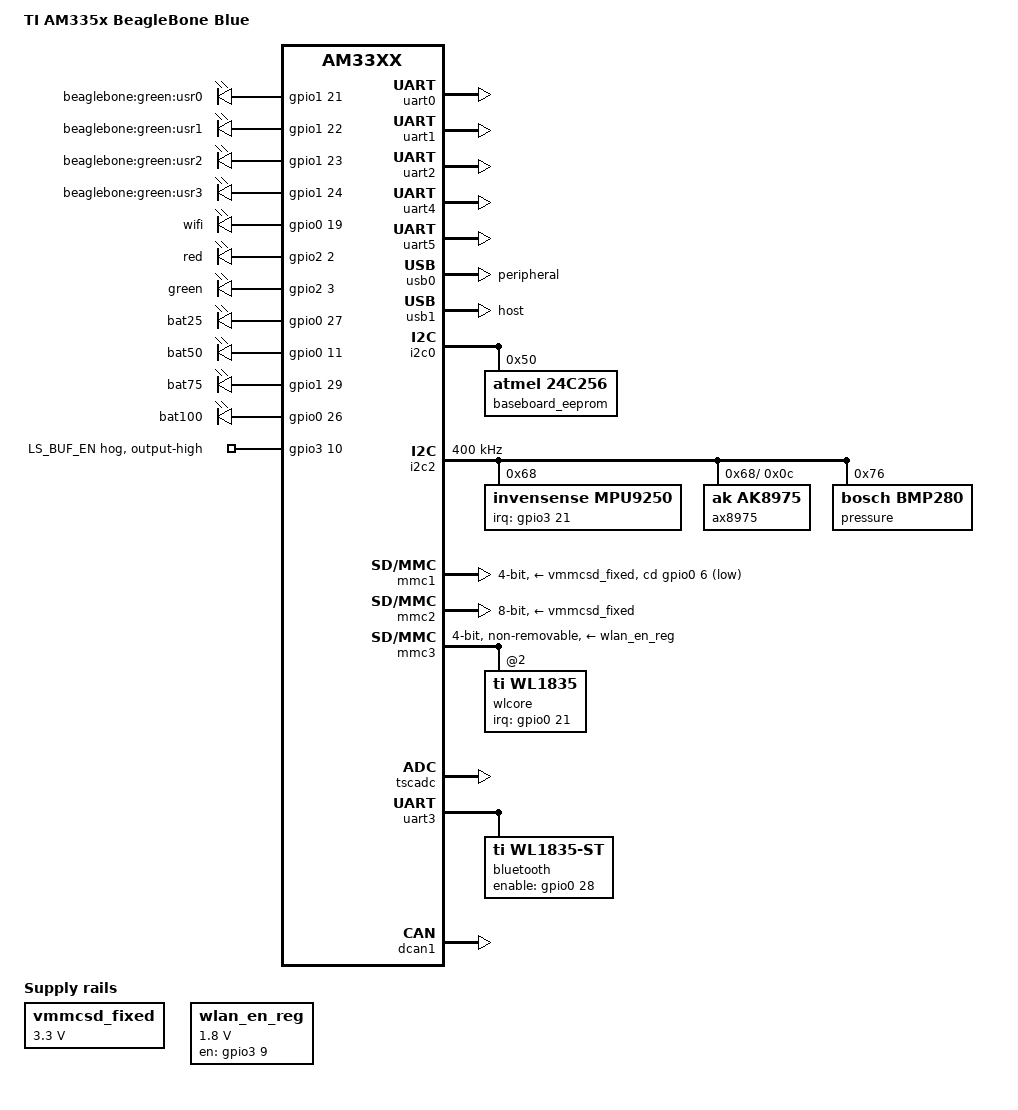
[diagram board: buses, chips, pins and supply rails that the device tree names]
// SPDX-License-Identifier: GPL-2.0-only
/*
 * Copyright (C) 2012 Texas Instruments Incorporated - https://www.ti.com/
 */
/dts-v1/;

#include "am33xx.dtsi"
#include "am335x-osd335x-common.dtsi"
#include <dt-bindings/interrupt-controller/irq.h>

/ {
	model = "TI AM335x BeagleBone Blue";
	compatible = "ti,am335x-bone-blue", "ti,am33xx";

	chosen {
		stdout-path = &uart0;
	};

	leds {
		pinctrl-names = "default";
		pinctrl-0 = <&user_leds_s0>;

		compatible = "gpio-leds";

		usr_0_led {
			label = "beaglebone:green:usr0";
			gpios = <&gpio1 21 GPIO_ACTIVE_HIGH>;
			linux,default-trigger = "heartbeat";
			default-state = "off";
		};

		usr_1_led {
			label = "beaglebone:green:usr1";
			gpios = <&gpio1 22 GPIO_ACTIVE_HIGH>;
			linux,default-trigger = "mmc0";
			default-state = "off";
		};

		usr_2_led {
			label = "beaglebone:green:usr2";
			gpios = <&gpio1 23 GPIO_ACTIVE_HIGH>;
			linux,default-trigger = "cpu0";
			default-state = "off";
		};

		usr_3_led {
			label = "beaglebone:green:usr3";
			gpios = <&gpio1 24 GPIO_ACTIVE_HIGH>;
			linux,default-trigger = "mmc1";
			default-state = "off";
		};

		wifi_led {
			label = "wifi";
			gpios = <&gpio0 19 GPIO_ACTIVE_HIGH>;
			default-state = "off";
			linux,default-trigger = "phy0assoc";
		};

		red_led {
			label = "red";
			gpios = <&gpio2 2 GPIO_ACTIVE_HIGH>;
			default-state = "off";
		};

		green_led {
			label = "green";
			gpios = <&gpio2 3 GPIO_ACTIVE_HIGH>;
			default-state = "off";
		};

		batt_1_led {
			label = "bat25";
			gpios = <&gpio0 27 GPIO_ACTIVE_HIGH>;
			default-state = "off";
		};

		batt_2_led {
			label = "bat50";
			gpios = <&gpio0 11 GPIO_ACTIVE_HIGH>;
			default-state = "off";
		};

		batt_3_led {
			label = "bat75";
			gpios = <&gpio1 29 GPIO_ACTIVE_HIGH>;
			default-state = "off";
		};

		batt_4_led {
			label = "bat100";
			gpios = <&gpio0 26 GPIO_ACTIVE_HIGH>;
			default-state = "off";
		};
	};

	vmmcsd_fixed: fixedregulator0 {
		compatible = "regulator-fixed";
		regulator-name = "vmmcsd_fixed";
		regulator-min-microvolt = <3300000>;
		regulator-max-microvolt = <3300000>;
	};

	wlan_en_reg: fixedregulator@2 {
		compatible = "regulator-fixed";
		regulator-name = "wlan-en-regulator";
		regulator-min-microvolt = <1800000>;
		regulator-max-microvolt = <1800000>;
		startup-delay-us= <70000>;

		/* WL_EN */
		gpio = <&gpio3 9 0>;
		enable-active-high;
	};
};

&am33xx_pinmux {
	user_leds_s0: user_leds_s0 {
		pinctrl-single,pins = <
			AM33XX_PADCONF(AM335X_PIN_GPMC_A5, PIN_OUTPUT, MUX_MODE7) /* (V15) gpmc_a5.gpio1[21] - USR_LED_0 */
			AM33XX_PADCONF(AM335X_PIN_GPMC_A6, PIN_OUTPUT, MUX_MODE7) /* (U15) gpmc_a6.gpio1[22] - USR_LED_1 */
			AM33XX_PADCONF(AM335X_PIN_GPMC_A7, PIN_OUTPUT, MUX_MODE7) /* (T15) gpmc_a7.gpio1[23] - USR_LED_2 */
			AM33XX_PADCONF(AM335X_PIN_GPMC_A8, PIN_OUTPUT, MUX_MODE7) /* (V16) gpmc_a8.gpio1[24] - USR_LED_3 */
			AM33XX_PADCONF(AM335X_PIN_XDMA_EVENT_INTR0, PIN_OUTPUT, MUX_MODE7) /* (A15) xdma_event_intr0.gpio0[19] - WIFI_LED */
			AM33XX_PADCONF(AM335X_PIN_GPMC_ADVN_ALE, PIN_OUTPUT, MUX_MODE7) /* (R7) gpmc_advn_ale.gpio2[2] - P8.7, LED_RED, GP1_PIN_5 */
			AM33XX_PADCONF(AM335X_PIN_GPMC_OEN_REN, PIN_OUTPUT, MUX_MODE7) /* (T7) gpmc_oen_ren.gpio2[3] - P8.8, LED_GREEN, GP1_PIN_6 */
			AM33XX_PADCONF(AM335X_PIN_GPMC_AD11, PIN_OUTPUT, MUX_MODE7) /* (U12) gpmc_ad11.gpio0[27] - P8.17, BATT_LED_1 */
			AM33XX_PADCONF(AM335X_PIN_LCD_DATA15, PIN_OUTPUT, MUX_MODE7) /* (T5) lcd_data15.gpio0[11] - P8.32, BATT_LED_2 */
			AM33XX_PADCONF(AM335X_PIN_GPMC_CSN0, PIN_OUTPUT, MUX_MODE7) /* (V6) gpmc_csn0.gpio1[29] - P8.26, BATT_LED_3 */
			AM33XX_PADCONF(AM335X_PIN_GPMC_AD10, PIN_OUTPUT, MUX_MODE7) /* (T11) gpmc_ad10.gpio0[26] - P8.14, BATT_LED_4 */

		>;
	};

	i2c2_pins: pinmux_i2c2_pins {
		pinctrl-single,pins = <
			AM33XX_PADCONF(AM335X_PIN_UART1_CTSN, PIN_INPUT_PULLUP, MUX_MODE3)	/* (D18) uart1_ctsn.I2C2_SDA */
			AM33XX_PADCONF(AM335X_PIN_UART1_RTSN, PIN_INPUT_PULLUP, MUX_MODE3)	/* (D17) uart1_rtsn.I2C2_SCL */
		>;
	};

	/* UT0 */
	uart0_pins: pinmux_uart0_pins {
		pinctrl-single,pins = <
			AM33XX_PADCONF(AM335X_PIN_UART0_RXD, PIN_INPUT_PULLUP, MUX_MODE0)
			AM33XX_PADCONF(AM335X_PIN_UART0_TXD, PIN_OUTPUT_PULLDOWN, MUX_MODE0)
		>;
	};

	/* UT1 */
	uart1_pins: pinmux_uart1_pins {
		pinctrl-single,pins = <
			AM33XX_PADCONF(AM335X_PIN_UART1_RXD, PIN_INPUT_PULLUP, MUX_MODE0)
			AM33XX_PADCONF(AM335X_PIN_UART1_TXD, PIN_OUTPUT_PULLDOWN, MUX_MODE0)
		>;
	};

	/* GPS */
	uart2_pins: pinmux_uart2_pins {
		pinctrl-single,pins = <
			AM33XX_PADCONF(AM335X_PIN_SPI0_SCLK, PIN_INPUT_PULLUP, MUX_MODE1)	/* (A17) spi0_sclk.uart2_rxd */
			AM33XX_PADCONF(AM335X_PIN_SPI0_D0, PIN_OUTPUT_PULLDOWN, MUX_MODE1)	/* (B17) spi0_d0.uart2_txd */
		>;
	};

	/* DSM2 */
	uart4_pins: pinmux_uart4_pins {
		pinctrl-single,pins = <
			AM33XX_PADCONF(AM335X_PIN_GPMC_WAIT0, PIN_INPUT_PULLUP, MUX_MODE6)	/* (T17) gpmc_wait0.uart4_rxd */
		>;
	};

	/* UT5 */
	uart5_pins: pinmux_uart5_pins {
		pinctrl-single,pins = <
			AM33XX_PADCONF(AM335X_PIN_LCD_DATA9, PIN_INPUT_PULLUP, MUX_MODE4)	/* (U2) lcd_data9.uart5_rxd */
			AM33XX_PADCONF(AM335X_PIN_LCD_DATA8, PIN_OUTPUT_PULLDOWN, MUX_MODE4)	/* (U1) lcd_data8.uart5_txd */
		>;
	};

	mmc1_pins: pinmux_mmc1_pins {
		pinctrl-single,pins = <
			AM33XX_PADCONF(AM335X_PIN_SPI0_CS1, PIN_INPUT, MUX_MODE7)		/* (C15) spi0_cs1.gpio0[6] */
		>;
	};

	mmc2_pins: pinmux_mmc2_pins {
		pinctrl-single,pins = <
			AM33XX_PADCONF(AM335X_PIN_GPMC_CSN1, PIN_INPUT_PULLUP, MUX_MODE2)	/* (U9) gpmc_csn1.mmc1_clk */
			AM33XX_PADCONF(AM335X_PIN_GPMC_CSN2, PIN_INPUT_PULLUP, MUX_MODE2)	/* (V9) gpmc_csn2.mmc1_cmd */
			AM33XX_PADCONF(AM335X_PIN_GPMC_AD0, PIN_INPUT_PULLUP, MUX_MODE1)	/* (U7) gpmc_ad0.mmc1_dat0 */
			AM33XX_PADCONF(AM335X_PIN_GPMC_AD1, PIN_INPUT_PULLUP, MUX_MODE1)	/* (V7) gpmc_ad1.mmc1_dat1 */
			AM33XX_PADCONF(AM335X_PIN_GPMC_AD2, PIN_INPUT_PULLUP, MUX_MODE1)	/* (R8) gpmc_ad2.mmc1_dat2 */
			AM33XX_PADCONF(AM335X_PIN_GPMC_AD3, PIN_INPUT_PULLUP, MUX_MODE1)	/* (T8) gpmc_ad3.mmc1_dat3 */
			AM33XX_PADCONF(AM335X_PIN_GPMC_AD4, PIN_INPUT_PULLUP, MUX_MODE1)	/* (U8) gpmc_ad4.mmc1_dat4 */
			AM33XX_PADCONF(AM335X_PIN_GPMC_AD5, PIN_INPUT_PULLUP, MUX_MODE1)	/* (V8) gpmc_ad5.mmc1_dat5 */
			AM33XX_PADCONF(AM335X_PIN_GPMC_AD6, PIN_INPUT_PULLUP, MUX_MODE1)	/* (R9) gpmc_ad6.mmc1_dat6 */
			AM33XX_PADCONF(AM335X_PIN_GPMC_AD7, PIN_INPUT_PULLUP, MUX_MODE1)	/* (T9) gpmc_ad7.mmc1_dat7 */
		>;
	};

	mmc3_pins: pinmux_mmc3_pins {
		pinctrl-single,pins = <
			AM33XX_PADCONF(AM335X_PIN_MII1_RXD1, PIN_INPUT_PULLUP, MUX_MODE6)	/* (L15) gmii1_rxd1.mmc2_clk */
			AM33XX_PADCONF(AM335X_PIN_MII1_TX_EN, PIN_INPUT_PULLUP, MUX_MODE6)	/* (J16) gmii1_txen.mmc2_cmd */
			AM33XX_PADCONF(AM335X_PIN_MII1_RX_DV, PIN_INPUT_PULLUP, MUX_MODE5)	/* (J17) gmii1_rxdv.mmc2_dat0 */
			AM33XX_PADCONF(AM335X_PIN_MII1_TXD3, PIN_INPUT_PULLUP, MUX_MODE5)	/* (J18) gmii1_txd3.mmc2_dat1 */
			AM33XX_PADCONF(AM335X_PIN_MII1_TXD2, PIN_INPUT_PULLUP, MUX_MODE5)	/* (K15) gmii1_txd2.mmc2_dat2 */
			AM33XX_PADCONF(AM335X_PIN_MII1_COL, PIN_INPUT_PULLUP, MUX_MODE5)	/* (H16) gmii1_col.mmc2_dat3 */
		>;
	};

	bt_pins: pinmux_bt_pins {
		pinctrl-single,pins = <
			AM33XX_PADCONF(AM335X_PIN_MII1_TXD0, PIN_OUTPUT_PULLUP, MUX_MODE7)	/* (K17) gmii1_txd0.gpio0[28] - BT_EN */
		>;
	};

	uart3_pins: pinmux_uart3_pins {
		pinctrl-single,pins = <
			AM33XX_PADCONF(AM335X_PIN_MII1_RXD3, PIN_INPUT_PULLUP, MUX_MODE1)	/* (L17) gmii1_rxd3.uart3_rxd */
			AM33XX_PADCONF(AM335X_PIN_MII1_RXD2, PIN_OUTPUT_PULLDOWN, MUX_MODE1)	/* (L16) gmii1_rxd2.uart3_txd */
			AM33XX_PADCONF(AM335X_PIN_MDIO, PIN_INPUT, MUX_MODE3)		/* (M17) mdio_data.uart3_ctsn */
			AM33XX_PADCONF(AM335X_PIN_MDC, PIN_OUTPUT_PULLDOWN, MUX_MODE3)	/* (M18) mdio_clk.uart3_rtsn */
		>;
	};

	wl18xx_pins: pinmux_wl18xx_pins {
		pinctrl-single,pins = <
			AM33XX_PADCONF(AM335X_PIN_MII1_TX_CLK, PIN_OUTPUT_PULLDOWN, MUX_MODE7)	/* (K18) gmii1_txclk.gpio3[9] - WL_EN */
			AM33XX_PADCONF(AM335X_PIN_MII1_TXD1, PIN_INPUT_PULLDOWN, MUX_MODE7)	/* (K16) gmii1_txd1.gpio0[21] - WL_IRQ */
			AM33XX_PADCONF(AM335X_PIN_MII1_RX_CLK, PIN_OUTPUT_PULLUP, MUX_MODE7)	/* (L18) gmii1_rxclk.gpio3[10] - LS_BUF_EN */
		>;
	};

	/* DCAN */
	dcan1_pins: pinmux_dcan1_pins {
		pinctrl-single,pins = <
			AM33XX_PADCONF(AM335X_PIN_UART0_RTSN, PIN_INPUT, MUX_MODE2)		/* (E17) uart0_rtsn.dcan1_rx */
			AM33XX_PADCONF(AM335X_PIN_UART0_CTSN, PIN_OUTPUT, MUX_MODE2)		/* (E18) uart0_ctsn.dcan1_tx */
			AM33XX_PADCONF(AM335X_PIN_MII1_RXD0, PIN_OUTPUT, MUX_MODE7)		/* (M16) gmii1_rxd0.gpio2[21] */
		>;
	};
};

&uart0 {
	pinctrl-names = "default";
	pinctrl-0 = <&uart0_pins>;

	status = "okay";
};

&uart1 {
	pinctrl-names = "default";
	pinctrl-0 = <&uart1_pins>;

	status = "okay";
};

&uart2 {
	pinctrl-names = "default";
	pinctrl-0 = <&uart2_pins>;

	status = "okay";
};

&uart4 {
	pinctrl-names = "default";
	pinctrl-0 = <&uart4_pins>;

	status = "okay";
};

&uart5 {
	pinctrl-names = "default";
	pinctrl-0 = <&uart5_pins>;

	status = "okay";
};

&usb0 {
	dr_mode = "peripheral";
	interrupts-extended = <&intc 18 &tps 0>;
	interrupt-names = "mc", "vbus";
};

&usb1 {
	dr_mode = "host";
};

&i2c0 {
	baseboard_eeprom: baseboard_eeprom@50 {
		compatible = "atmel,24c256";
		reg = <0x50>;

		#address-cells = <1>;
		#size-cells = <1>;
		baseboard_data: baseboard_data@0 {
			reg = <0 0x100>;
		};
	};
};

&i2c2 {
	pinctrl-names = "default";
	pinctrl-0 = <&i2c2_pins>;

	status = "okay";
	clock-frequency = <400000>;

	mpu9250@68 {
		compatible = "invensense,mpu9250";
		reg = <0x68>;
		interrupt-parent = <&gpio3>;
		interrupts = <21 IRQ_TYPE_EDGE_RISING>;
		i2c-gate {
			#address-cells = <1>;
			#size-cells = <0>;
			ax8975@c {
				compatible = "ak,ak8975";
				reg = <0x0c>;
			};
		};
	};

	pressure@76 {
		compatible = "bosch,bmp280";
		reg = <0x76>;
	};
};

/include/ "tps65217.dtsi"

&tps {
	/delete-property/ ti,pmic-shutdown-controller;

	charger {
		interrupts = <0>, <1>;
		interrupt-names = "USB", "AC";
		status = "okay";
	};
};

&mmc1 {
	status = "okay";
	vmmc-supply = <&vmmcsd_fixed>;
	bus-width = <4>;
	pinctrl-names = "default";
	pinctrl-0 = <&mmc1_pins>;
	cd-gpios = <&gpio0 6 GPIO_ACTIVE_LOW>;
};

&mmc2 {
	status = "okay";
	vmmc-supply = <&vmmcsd_fixed>;
	bus-width = <8>;
	pinctrl-names = "default";
	pinctrl-0 = <&mmc2_pins>;
};

&mmc3 {
	dmas = <&edma_xbar 12 0 1
		&edma_xbar 13 0 2>;
	dma-names = "tx", "rx";
	status = "okay";
	vmmc-supply = <&wlan_en_reg>;
	bus-width = <4>;
	non-removable;
	cap-power-off-card;
	keep-power-in-suspend;
	pinctrl-names = "default";
	pinctrl-0 = <&mmc3_pins &wl18xx_pins>;

	#address-cells = <1>;
	#size-cells = <0>;
	wlcore: wlcore@2 {
		compatible = "ti,wl1835";
		reg = <2>;
		interrupt-parent = <&gpio0>;
		interrupts = <21 IRQ_TYPE_EDGE_RISING>;
	};
};

&tscadc {
	status = "okay";
	adc {
		ti,adc-channels = <0 1 2 3 4 5 6 7>;
	};
};

&uart3 {
	pinctrl-names = "default";
	pinctrl-0 = <&uart3_pins &bt_pins>;
	status = "okay";

	bluetooth {
		compatible = "ti,wl1835-st";
		enable-gpios = <&gpio0 28 GPIO_ACTIVE_HIGH>;
	};
};

&rtc {
	system-power-controller;
	clocks = <&clk_32768_ck>, <&clk_24mhz_clkctrl AM3_CLK_24MHZ_CLKDIV32K_CLKCTRL 0>;
	clock-names = "ext-clk", "int-clk";
};

&dcan1 {
	pinctrl-names = "default";
	pinctrl-0 = <&dcan1_pins>;
	status = "okay";
};

&gpio3 {
	ls_buf_en {
		gpio-hog;
		gpios = <10 GPIO_ACTIVE_HIGH>;
		output-high;
		line-name = "LS_BUF_EN";
	};
};
